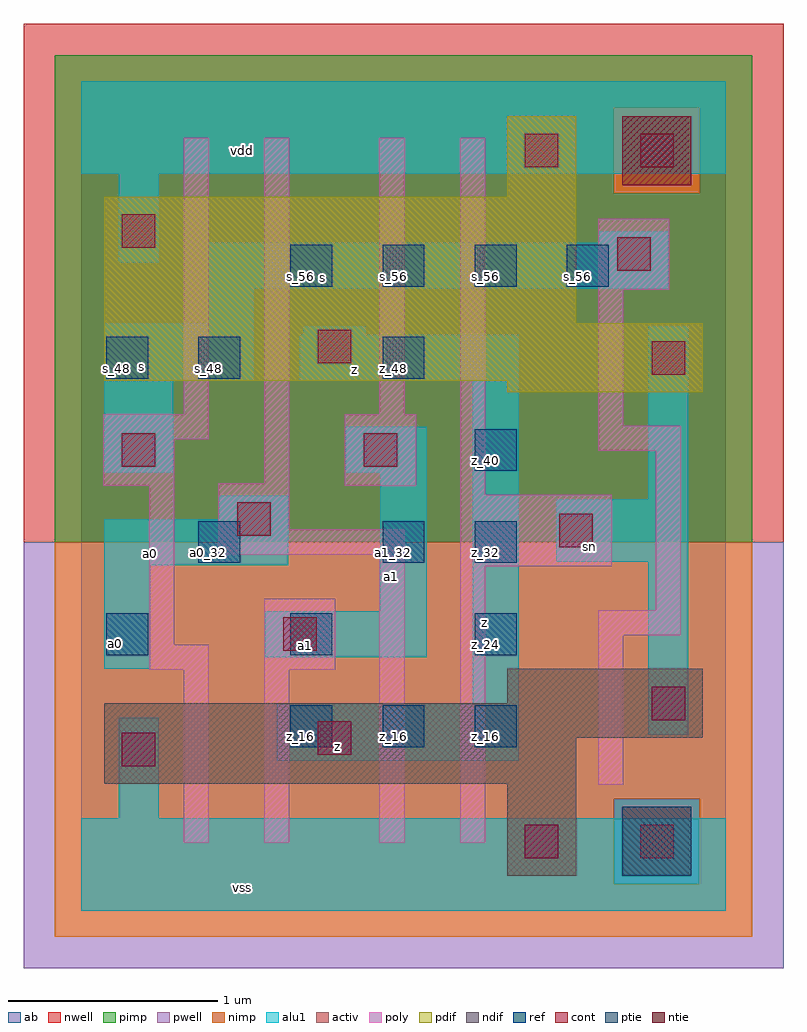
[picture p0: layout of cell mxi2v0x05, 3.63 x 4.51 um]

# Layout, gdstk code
import gdstk
lib = gdstk.Library(unit=1e-6, precision=2.5e-09)
def R(c, l, rs):  # rectangles x0, y0, x1, y1
    for r in rs: c.add(gdstk.rectangle(r[:2], r[2:], *l))
def A(c, l, x, y, w, h, nx, ny, dx, dy):  # array of equal rectangles
    R(c, l, [(x+i*dx, y+j*dy, x+i*dx+w, y+j*dy+h) for i in range(nx) for j in range(ny)])
ndif = (3, 0)
pdif = (4, 0)
ntie = (5, 0)
ptie = (6, 0)
ref = (24, 0)
cont = (25, 0)
pwell = (41, 0)
nwell = (42, 0)
activ = (43, 0)
pimp = (44, 0)
nimp = (45, 0)
poly = (46, 0)
alu1 = (49, 0)
ab = (63, 0)

mxi2v0x05 = lib.new_cell('mxi2v0x05')
R(mxi2v0x05, ndif, [(2.035,0.165,2.365,0.605), (0.11,0.605,2.365,0.825), (0.11,0.825,2.97,0.99), (2.035,0.99,2.97,1.155)])
R(mxi2v0x05, pdif, [(2.035,2.475,2.97,2.53), (0.11,2.53,2.97,2.805), (0.11,2.805,2.365,3.41), (2.035,3.41,2.365,3.795)])
R(mxi2v0x05, ntie, [(2.585,3.465,2.915,3.795)])
R(mxi2v0x05, ptie, [(2.585,0.165,2.915,0.495)])
A(mxi2v0x05, ref, 1, 0.78, 0.2, 0.2, 3, 1, 0.44, 0)
A(mxi2v0x05, ref, 0.12, 1.22, 0.2, 0.2, 3, 1, 0.88, 0)
A(mxi2v0x05, ref, 1, 2.98, 0.2, 0.2, 4, 1, 0.44, 0)
R(mxi2v0x05, ref, [(0.56,1.66,0.76,1.86), (1.44,1.66,1.64,1.86), (1.88,1.66,2.08,1.86), (1.88,2.1,2.08,2.3), (0.12,2.54,0.32,2.74), (0.56,2.54,0.76,2.74), (1.44,2.54,1.64,2.74)])
R(mxi2v0x05, cont, [(2.12,0.25,2.28,0.41), (2.67,0.25,2.83,0.41), (0.195,0.69,0.355,0.85), (1.13,0.745,1.29,0.905), (2.725,0.91,2.885,1.07), (0.965,1.24,1.125,1.4), (2.285,1.735,2.445,1.895), (0.745,1.79,0.905,1.95), (0.195,2.12,0.355,2.28), (1.35,2.12,1.51,2.28), (2.725,2.56,2.885,2.72), (1.13,2.615,1.29,2.775), (2.56,3.055,2.72,3.215), (0.195,3.165,0.355,3.325), (2.12,3.55,2.28,3.71), (2.67,3.55,2.83,3.71)])
R(mxi2v0x05, pwell, [(-0.275,-0.275,3.355,1.76)])
R(mxi2v0x05, nwell, [(-0.275,1.76,3.355,4.235)])
R(mxi2v0x05, activ, [(2.035,0.165,2.365,0.605), (2.585,0.165,2.915,0.495), (0.11,0.605,2.365,0.825), (0.11,0.825,2.97,0.99), (2.035,0.99,2.97,1.155), (2.035,2.475,2.97,2.53), (0.11,2.53,2.97,2.805), (0.11,2.805,2.365,3.41), (2.035,3.41,2.365,3.795), (2.585,3.465,2.915,3.795)])
R(mxi2v0x05, pimp, [(2.545,0.125,2.955,0.535), (-0.125,1.76,3.205,3.425), (-0.125,3.425,2.545,3.835), (2.955,3.425,3.205,3.835), (-0.125,3.835,3.205,4.085)])
R(mxi2v0x05, nimp, [(-0.125,-0.125,3.205,0.125), (-0.125,0.125,2.545,0.535), (2.955,0.125,3.205,0.535), (-0.125,0.535,3.205,1.76), (2.545,3.425,2.955,3.835)])
R(mxi2v0x05, poly, [(0.49,0.325,0.61,1.15), (0.875,0.325,0.995,1.15), (1.425,0.325,1.545,1.7), (1.81,0.325,1.93,1.645), (2.47,0.6,2.59,1.315), (0.325,1.15,0.61,1.27), (0.875,1.15,1.215,1.49), (0.325,1.27,0.445,2.03), (2.47,1.315,2.865,1.435), (2.745,1.435,2.865,2.195), (1.81,1.645,2.535,1.985), (0.655,1.7,1.545,1.82), (0.655,1.82,0.995,2.04), (1.81,1.985,1.93,3.69), (0.105,2.03,0.445,2.25), (1.26,2.03,1.6,2.37), (0.875,2.04,0.995,3.69), (2.47,2.195,2.865,2.315), (0.105,2.25,0.61,2.37), (2.47,2.315,2.59,2.965), (0.49,2.37,0.61,3.69), (1.425,2.37,1.545,3.69), (2.47,2.965,2.81,3.305)])
R(mxi2v0x05, alu1, [(0,0,3.08,0.44), (0.18,0.44,0.37,0.92), (0.935,0.715,2.09,0.99), (2.71,0.84,2.9,1.665), (1.87,0.99,2.09,2.53), (0.11,1.155,0.33,1.65), (0.88,1.21,1.65,1.43), (1.43,1.43,1.65,2.09), (0.11,1.65,0.99,1.87), (2.27,1.665,2.9,1.965), (0.66,1.87,0.99,1.98), (2.71,1.965,2.9,2.79), (0.11,2.09,0.44,2.53), (1.265,2.09,1.65,2.31), (0.11,2.53,0.825,2.805), (1.045,2.53,2.09,2.75), (1.06,2.75,1.36,2.79), (0.605,2.805,0.825,2.97), (0.605,2.97,2.805,3.19), (0.18,3.095,0.37,3.52), (2.475,3.19,2.805,3.245), (0,3.52,3.08,3.96)])
R(mxi2v0x05, ab, [(0,0,3.08,3.96)])
mxi2v0x05.add(gdstk.Label('vss', (0.77,0.11), layer=49, texttype=0))
mxi2v0x05.add(gdstk.Label('z', (1.2225,0.7825), layer=49, texttype=0))
mxi2v0x05.add(gdstk.Label('sn', (2.4275,1.74), layer=49, texttype=0))
mxi2v0x05.add(gdstk.Label('z', (1.925,1.375), layer=49, texttype=0))
mxi2v0x05.add(gdstk.Label('a1', (1.0725,1.265), layer=49, texttype=0))
mxi2v0x05.add(gdstk.Label('a1', (1.485,1.595), layer=49, texttype=0))
mxi2v0x05.add(gdstk.Label('a0', (0.165,1.2775), layer=49, texttype=0))
mxi2v0x05.add(gdstk.Label('a0', (0.33,1.705), layer=49, texttype=0))
mxi2v0x05.add(gdstk.Label('z', (1.305,2.585), layer=49, texttype=0))
mxi2v0x05.add(gdstk.Label('s', (0.2875,2.5975), layer=49, texttype=0))
mxi2v0x05.add(gdstk.Label('s', (1.155,3.025), layer=49, texttype=0))
mxi2v0x05.add(gdstk.Label('vdd', (0.77,3.63), layer=49, texttype=0))
mxi2v0x05.add(gdstk.Label('s_56', (2.37,3.03), layer=24, texttype=0))
mxi2v0x05.add(gdstk.Label('s_48', (0.17,2.59), layer=24, texttype=0))
mxi2v0x05.add(gdstk.Label('a0_24', (0.17,1.27), layer=24, texttype=0))
mxi2v0x05.add(gdstk.Label('s_56', (1.93,3.03), layer=24, texttype=0))
mxi2v0x05.add(gdstk.Label('z_40', (1.93,2.15), layer=24, texttype=0))
mxi2v0x05.add(gdstk.Label('z_32', (1.93,1.71), layer=24, texttype=0))
mxi2v0x05.add(gdstk.Label('z_24', (1.93,1.27), layer=24, texttype=0))
mxi2v0x05.add(gdstk.Label('z_16', (1.93,0.83), layer=24, texttype=0))
mxi2v0x05.add(gdstk.Label('s_56', (1.49,3.03), layer=24, texttype=0))
mxi2v0x05.add(gdstk.Label('z_48', (1.49,2.59), layer=24, texttype=0))
mxi2v0x05.add(gdstk.Label('a1_32', (1.49,1.71), layer=24, texttype=0))
mxi2v0x05.add(gdstk.Label('z_16', (1.49,0.83), layer=24, texttype=0))
mxi2v0x05.add(gdstk.Label('s_56', (1.05,3.03), layer=24, texttype=0))
mxi2v0x05.add(gdstk.Label('a1_24', (1.05,1.27), layer=24, texttype=0))
mxi2v0x05.add(gdstk.Label('z_16', (1.05,0.83), layer=24, texttype=0))
mxi2v0x05.add(gdstk.Label('s_48', (0.61,2.59), layer=24, texttype=0))
mxi2v0x05.add(gdstk.Label('a0_32', (0.61,1.71), layer=24, texttype=0))

lib.write_gds('mxi2v0x05.gds')
